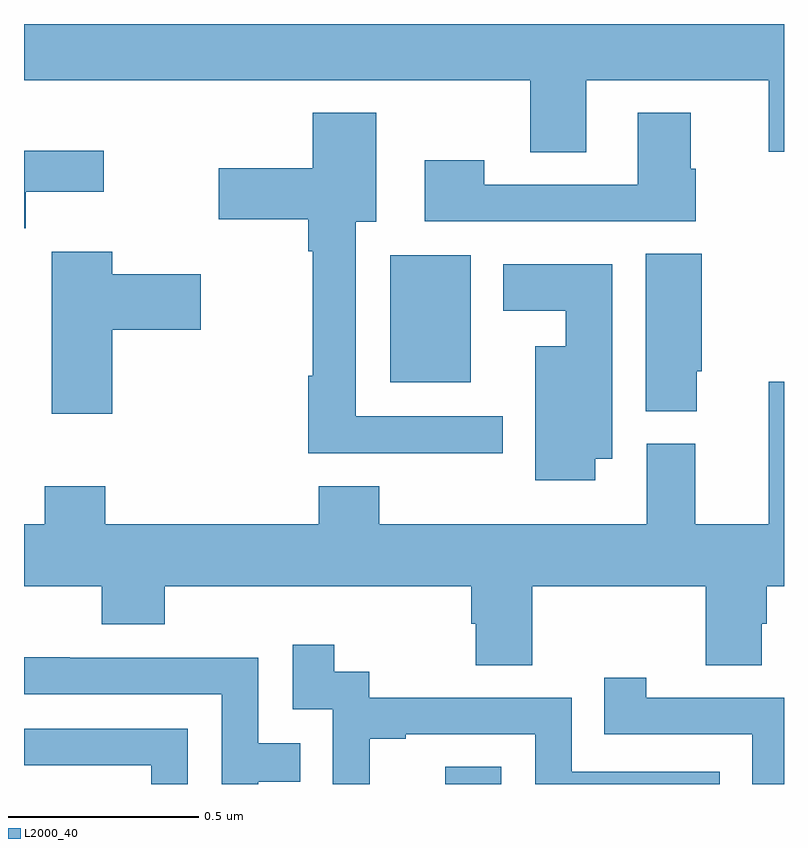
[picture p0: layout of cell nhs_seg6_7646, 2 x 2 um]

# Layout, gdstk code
import gdstk
lib = gdstk.Library(unit=1e-6, precision=1e-09)
def R(c, l, rs):  # rectangles x0, y0, x1, y1
    for r in rs: c.add(gdstk.rectangle(r[:2], r[2:], *l))
def P(c, l, *ps):  # polygons
    for p in ps: c.add(gdstk.Polygon(p, *l))
L2000_40 = (2000, 40)

nhs_seg6_7646 = lib.new_cell('nhs_seg6_7646')
R(nhs_seg6_7646, L2000_40, [(212.109,929.5,212.256,929.545), (211.964,930.557,212.176,930.892)])
P(nhs_seg6_7646, L2000_40, [(212.479,931.352),(212.96,931.352),(212.96,931.164),(213,931.164),(213,931.5),(211,931.5),(211,931.352),(212.332,931.352),(212.332,931.162),(212.479,931.162)],
  [(212.768,931.119),(212.755,931.119),(212.755,931.267),(212.615,931.267),(212.615,931.077),(212.211,931.077),(212.211,931.141),(212.055,931.141),(212.055,930.981),(212.768,930.981)],
  [(212.26,930.468),(211.873,930.468),(211.873,930.98),(211.927,930.98),(211.927,931.267),(211.76,931.267),(211.76,931.12),(211.512,931.12),(211.512,930.986),(211.748,930.986),(211.748,930.902),(211.76,930.902),(211.76,930.575),(211.748,930.575),(211.748,930.371),(212.26,930.371)],
  [(211.004,931.058),(211.21,931.058),(211.21,931.166),(211,931.166),(211,930.962),(211.004,930.962)],
  [(211.232,930.695),(211.465,930.695),(211.465,930.842),(211.232,930.842),(211.232,930.901),(211.073,930.901),(211.073,930.474),(211.232,930.474)],
  [(212.77,930.586),(212.783,930.586),(212.783,930.896),(212.636,930.896),(212.636,930.481),(212.77,930.481)],
  [(212.503,930.356),(212.548,930.356),(212.548,930.868),(212.261,930.868),(212.261,930.746),(212.426,930.746),(212.426,930.652),(212.345,930.652),(212.345,930.3),(212.503,930.3)],
  [(211.935,930.283),(211.775,930.283),(211.775,930.184),(211.214,930.184),(211.214,930.283),(211.054,930.283),(211.054,930.184),(211,930.184),(211,930.02),(211.205,930.02),(211.205,929.921),(211.37,929.921),(211.37,930.02),(212.177,930.02),(212.177,929.922),(212.189,929.922),(212.189,929.812),(212.337,929.812),(212.337,930.02),(212.794,930.02),(212.794,929.812),(212.941,929.812),(212.941,929.922),(212.954,929.922),(212.954,930.02),(213,930.02),(213,930.559),(212.96,930.559),(212.96,930.184),(212.767,930.184),(212.767,930.396),(212.639,930.396),(212.639,930.184),(211.935,930.184)],
  [(211.91,929.619),(212.005,929.619),(212.005,929.631),(212.346,929.631),(212.346,929.5),(212.831,929.5),(212.831,929.532),(212.442,929.532),(212.442,929.727),(211.908,929.727),(211.908,929.796),(211.816,929.796),(211.816,929.866),(211.707,929.866),(211.707,929.697),(211.812,929.697),(211.812,929.5),(211.91,929.5)],
  [(211.617,929.506),(211.727,929.506),(211.727,929.607),(211.617,929.607),(211.617,929.832),(211.121,929.832),(211.121,929.834),(211,929.834),(211,929.736),(211.521,929.736),(211.521,929.5),(211.617,929.5)],
  [(213,929.727),(212.638,929.727),(212.638,929.779),(212.527,929.779),(212.527,929.631),(212.916,929.631),(212.916,929.5),(213,929.5)],
  [(211.431,929.646),(211,929.646),(211,929.55),(211.335,929.55),(211.335,929.5),(211.431,929.5)])

lib.write_gds('nhs_seg6_7646.gds')
